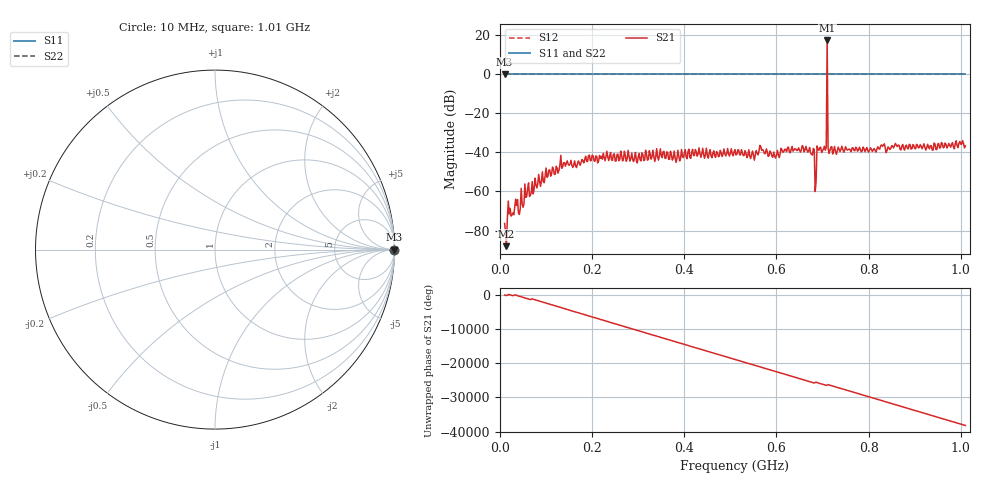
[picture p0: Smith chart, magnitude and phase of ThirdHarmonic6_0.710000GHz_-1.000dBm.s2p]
! 8/15/2025 11:44:25 PM
! C:\ANRITSUVNA\TEMP\TEMP.S2P
! CHANNEL.1
! TR.MEASUREMENT
! RAW.DATA
! RF.CORRECTION.OFF
! AVERAGING.OFF
! IF.BANDWIDTH: 5KHZ
! SWEEPTYPE:  FREQ.SWEEP(Linear)
! Reference Plane Port Info
! PORT:  PORT1  PORT2
! DISTANCE:  0  m  0  m
! TIME:  0  s  0  s
! PHASE.OFFSET:  0  deg.  0  deg.
! LOSS:  0  dB  0  dB
! REF.LOSS:  0  dB  0  dB
! REF.FREQ:  0  Hz  0  Hz
! Power Info
! POWER:  -20  dBm  -20  dBm
! EFF.POWER:  -20  dBm  -20  dBm
! SOURCE.ATTEN:  0  dB  0  dB
! TEST.ATTEN:  0  dB  0  dB
# GHZ S RI R 50.0
! FREQ.GHZ  S11RE  S11IM  S21RE  S21IM  S12RE  S12IM  S22RE  S22IM
!; PortSelection: Port_12
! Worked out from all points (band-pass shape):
!   501 points, 10 MHz to 1.01 GHz, reference 50 ohm
!   highest |S21| = 17.21 dB at 710 MHz (marker M1); lowest = -88.0 dB at 14 MHz (marker M2)
!   |S21| within 3 dB of the highest: 709.8903 MHz to 710.1091 MHz (218.8 kHz wide, 0.0308 % of centre)
!   lowest |S11| = 0.0 dB at 10 MHz (marker M3)
!   |S11| at or under -10 dB: nowhere
!   |S22| runs from 0.0 to 0.0 dB; largest |S21 - S12| = 7.7
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0.01  1 0  7.7e-05 -0.000132  1 0  1 0
0.014  1 0  -3.88e-05 -9.3e-06  1 0  1 0
0.02  1 0  -3.1e-05 0.000264  1 0  1 0
0.046  1 0  -0.00107 0.00055  1 0  1 0
0.058  1 0  0.00057 0.000487  1 0  1 0
0.068  1 0  -0.000964 -0.000209  1 0  1 0
0.104  1 0  0.00184 -0.00161  1 0  1 0
0.136  1 0  -0.00101 0.00411  1 0  1 0
0.178  1 0  -0.00628 -0.00192  1 0  1 0
0.344  1 0  0.00629 -0.000279  1 0  1 0
0.51  1 0  -0.0116 0.00125  1 0  1 0
0.678  1 0  0.00393 -0.00758  1 0  1 0
0.682  1 0  -0.00547 0.0105  1 0  1 0
0.688  1 0  -0.00671 -0.0129  1 0  1 0
0.692  1 0  0.000206 0.0112  1 0  1 0
0.704  1 0  0.00931 -0.0109  1 0  1 0
0.706  1 0  -0.00786 -0.00816  1 0  1 0
0.71  1 0  -2.837 -6.677  1 0  1 0
0.714  1 0  8.11e-05 -0.00941  1 0  1 0
0.716  1 0  -0.0106 -0.0033  1 0  1 0
0.844  1 0  -0.00251 0.0129  1 0  1 0
1.01  1 0  0.00648 -0.0131  1 0  1 0
